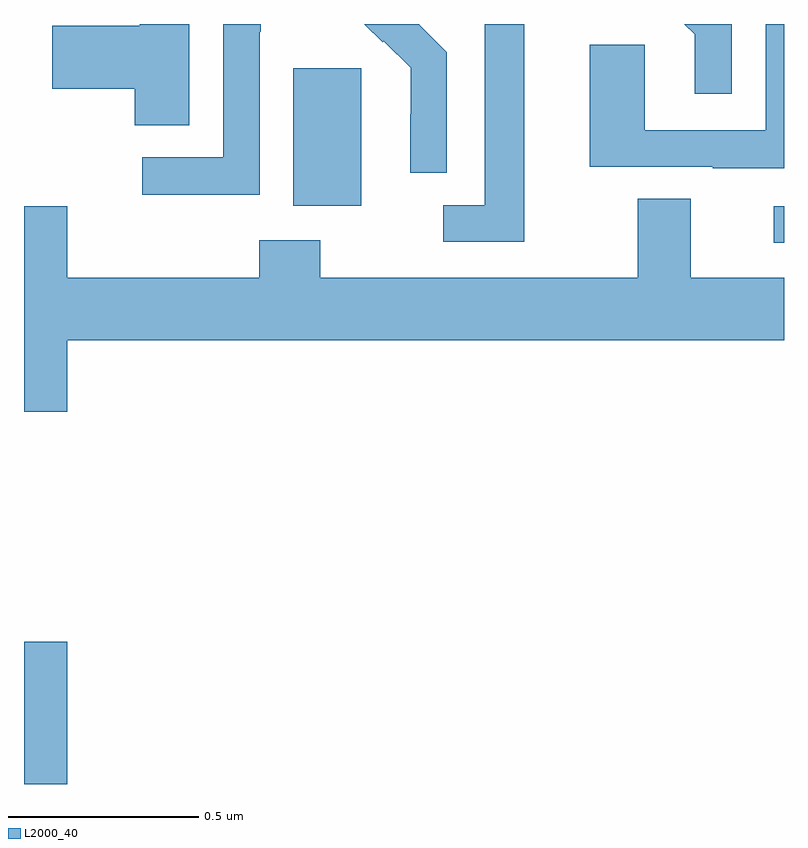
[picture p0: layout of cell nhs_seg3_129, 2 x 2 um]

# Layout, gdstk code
import gdstk
lib = gdstk.Library(unit=1e-6, precision=1e-09)
def R(c, l, rs):  # rectangles x0, y0, x1, y1
    for r in rs: c.add(gdstk.rectangle(r[:2], r[2:], *l))
def P(c, l, *ps):  # polygons
    for p in ps: c.add(gdstk.Polygon(p, *l))
L2000_40 = (2000, 40)

nhs_seg3_129 = lib.new_cell('nhs_seg3_129')
R(nhs_seg3_129, L2000_40, [(112,714.4,112.114,714.775), (113.973,715.824,114,715.92), (112.709,715.922,112.888,716.283)])
P(nhs_seg3_129, L2000_40, [(112.62,716.38),(112.623,716.38),(112.623,716.4),(112.524,716.4),(112.524,716.049),(112.311,716.049),(112.311,715.951),(112.62,715.951)],
  [(113.112,716.326),(113.039,716.399),(113.04,716.4),(112.896,716.4),(112.944,716.352),(112.947,716.355),(113.018,716.285),(113.018,716.162),(113.016,716.162),(113.016,716.008),(113.112,716.008)],
  [(112.435,716.4),(112.304,716.4),(112.304,716.395),(112.074,716.395),(112.074,716.23),(112.292,716.23),(112.292,716.134),(112.435,716.134)],
  [(114,716.4),(113.952,716.4),(113.952,716.121),(113.634,716.121),(113.634,716.345),(113.489,716.345),(113.489,716.025),(113.813,716.025),(113.813,716.021),(114,716.021)],
  [(113.317,716.4),(113.213,716.4),(113.213,715.923),(113.103,715.923),(113.103,715.827),(113.317,715.827)],
  [(113.862,716.4),(113.738,716.4),(113.765,716.373),(113.765,716.217),(113.862,716.217)],
  [(112.114,715.568),(114,715.568),(114,715.732),(113.755,715.732),(113.755,715.94),(113.615,715.94),(113.615,715.732),(112.779,715.732),(112.779,715.831),(112.619,715.831),(112.619,715.732),(112.114,715.732),(112.114,715.921),(112,715.921),(112,715.38),(112.114,715.38)])

lib.write_gds('nhs_seg3_129.gds')
